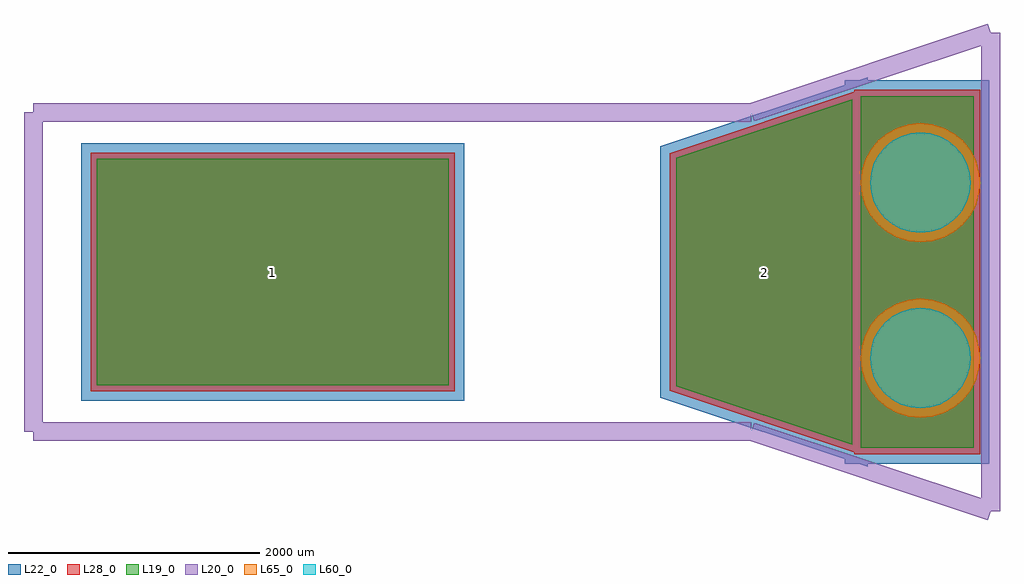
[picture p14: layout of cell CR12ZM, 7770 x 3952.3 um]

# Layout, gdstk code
import gdstk
lib = gdstk.Library(unit=1e-6, precision=1e-09)
def R(c, l, rs):  # rectangles x0, y0, x1, y1
    for r in rs: c.add(gdstk.rectangle(r[:2], r[2:], *l))
def P(c, l, *ps):  # polygons
    for p in ps: c.add(gdstk.Polygon(p, *l))
L19_0 = (19, 0)
L20_0 = (20, 0)
L22_0 = (22, 0)
L28_0 = (28, 0)
L60_0 = (60, 0)
L65_0 = (65, 0)

cr12zm = lib.new_cell('CR12ZM')
R(cr12zm, L19_0, [(2140.42,-1400.34,3041.18,1400.34), (-3940.34,-899.96,-1139.66,899.96)])
P(cr12zm, L19_0, [(671.03,-910.112),(671.03,910.112),(2072.17,1377.159),(2072.17,-1377.159)])
R(cr12zm, L22_0, [(2015.42,-1525.34,3166.18,1525.34), (-4065.34,-1024.96,-1014.66,1024.96)])
P(cr12zm, L22_0, [(3091.25,-685.8),(3082.122,-593.122),(3055.089,-504.006),(3011.19,-421.876),(2952.111,-349.889),(2880.124,-290.81),(2797.994,-246.911),(2708.878,-219.878),(2616.2,-210.75),(2523.522,-219.878),(2434.406,-246.911),(2352.276,-290.81),(2280.289,-349.889),(2221.21,-421.876),(2177.311,-504.006),(2150.278,-593.122),(2141.15,-685.8),(2150.278,-778.478),(2177.311,-867.594),(2221.21,-949.724),(2280.289,-1021.711),(2352.276,-1080.79),(2434.406,-1124.689),(2523.522,-1151.722),(2616.2,-1160.85),(2708.878,-1151.722),(2797.994,-1124.689),(2880.124,-1080.79),(2952.111,-1021.711),(3011.19,-949.724),(3055.089,-867.594),(3082.122,-778.478)],
  [(3091.25,711.2),(3082.122,803.878),(3055.089,892.994),(3011.19,975.124),(2952.111,1047.111),(2880.124,1106.19),(2797.994,1150.089),(2708.878,1177.122),(2616.2,1186.25),(2523.522,1177.122),(2434.406,1150.089),(2352.276,1106.19),(2280.289,1047.111),(2221.21,975.124),(2177.311,892.994),(2150.278,803.878),(2141.15,711.2),(2150.278,618.522),(2177.311,529.406),(2221.21,447.276),(2280.289,375.289),(2352.276,316.21),(2434.406,272.311),(2523.522,245.278),(2616.2,236.15),(2708.878,245.278),(2797.994,272.311),(2880.124,316.21),(2952.111,375.289),(3011.19,447.276),(3055.089,529.406),(3082.122,618.522)],
  [(546.03,-1000.207),(546.03,1000.207),(2197.17,1550.587),(2197.17,-1550.587)])
R(cr12zm, L28_0, [(2090.42,-1450.34,3091.18,1450.34), (-3990.34,-949.96,-1089.66,949.96)])
P(cr12zm, L28_0, [(3016.25,-685.8),(3008.563,-607.754),(2985.798,-532.707),(2948.829,-463.544),(2899.078,-402.922),(2838.456,-353.171),(2769.293,-316.202),(2694.246,-293.437),(2616.2,-285.75),(2538.154,-293.437),(2463.107,-316.202),(2393.944,-353.171),(2333.322,-402.922),(2283.571,-463.544),(2246.602,-532.707),(2223.837,-607.754),(2216.15,-685.8),(2223.837,-763.846),(2246.602,-838.893),(2283.571,-908.056),(2333.322,-968.678),(2393.944,-1018.429),(2463.107,-1055.398),(2538.154,-1078.163),(2616.2,-1085.85),(2694.246,-1078.163),(2769.293,-1055.398),(2838.456,-1018.429),(2899.078,-968.678),(2948.829,-908.056),(2985.798,-838.893),(3008.563,-763.846)],
  [(3016.25,711.2),(3008.563,789.246),(2985.798,864.293),(2948.829,933.456),(2899.078,994.078),(2838.456,1043.829),(2769.293,1080.798),(2694.246,1103.563),(2616.2,1111.25),(2538.154,1103.563),(2463.107,1080.798),(2393.944,1043.829),(2333.322,994.078),(2283.571,933.456),(2246.602,864.293),(2223.837,789.246),(2216.15,711.2),(2223.837,633.154),(2246.602,558.107),(2283.571,488.944),(2333.322,428.322),(2393.944,378.571),(2463.107,341.602),(2538.154,318.837),(2616.2,311.15),(2694.246,318.837),(2769.293,341.602),(2838.456,378.571),(2899.078,428.322),(2948.829,488.944),(2985.798,558.107),(3008.563,633.154)],
  [(621.03,-946.15),(621.03,946.15),(2122.17,1446.53),(2122.17,-1446.53)])
P(cr12zm, L60_0, [(3016.25,-685.8),(3008.563,-607.754),(2985.798,-532.707),(2948.829,-463.544),(2899.078,-402.922),(2838.456,-353.171),(2769.293,-316.202),(2694.246,-293.437),(2616.2,-285.75),(2538.154,-293.437),(2463.107,-316.202),(2393.944,-353.171),(2333.322,-402.922),(2283.571,-463.544),(2246.602,-532.707),(2223.837,-607.754),(2216.15,-685.8),(2223.837,-763.846),(2246.602,-838.893),(2283.571,-908.056),(2333.322,-968.678),(2393.944,-1018.429),(2463.107,-1055.398),(2538.154,-1078.163),(2616.2,-1085.85),(2694.246,-1078.163),(2769.293,-1055.398),(2838.456,-1018.429),(2899.078,-968.678),(2948.829,-908.056),(2985.798,-838.893),(3008.563,-763.846)],
  [(3016.25,711.2),(3008.563,789.246),(2985.798,864.293),(2948.829,933.456),(2899.078,994.078),(2838.456,1043.829),(2769.293,1080.798),(2694.246,1103.563),(2616.2,1111.25),(2538.154,1103.563),(2463.107,1080.798),(2393.944,1043.829),(2333.322,994.078),(2283.571,933.456),(2246.602,864.293),(2223.837,789.246),(2216.15,711.2),(2223.837,633.154),(2246.602,558.107),(2283.571,488.944),(2333.322,428.322),(2393.944,378.571),(2463.107,341.602),(2538.154,318.837),(2616.2,311.15),(2694.246,318.837),(2769.293,341.602),(2838.456,378.571),(2899.078,428.322),(2948.829,488.944),(2985.798,558.107),(3008.563,633.154)])
P(cr12zm, L65_0, [(3091.25,-685.8),(3082.122,-593.122),(3055.089,-504.006),(3011.19,-421.876),(2952.111,-349.889),(2880.124,-290.81),(2797.994,-246.911),(2708.878,-219.878),(2616.2,-210.75),(2523.522,-219.878),(2434.406,-246.911),(2352.276,-290.81),(2280.289,-349.889),(2221.21,-421.876),(2177.311,-504.006),(2150.278,-593.122),(2141.15,-685.8),(2150.278,-778.478),(2177.311,-867.594),(2221.21,-949.724),(2280.289,-1021.711),(2352.276,-1080.79),(2434.406,-1124.689),(2523.522,-1151.722),(2616.2,-1160.85),(2708.878,-1151.722),(2797.994,-1124.689),(2880.124,-1080.79),(2952.111,-1021.711),(3011.19,-949.724),(3055.089,-867.594),(3082.122,-778.478)],
  [(3091.25,711.2),(3082.122,803.878),(3055.089,892.994),(3011.19,975.124),(2952.111,1047.111),(2880.124,1106.19),(2797.994,1150.089),(2708.878,1177.122),(2616.2,1186.25),(2523.522,1177.122),(2434.406,1150.089),(2352.276,1106.19),(2280.289,1047.111),(2221.21,975.124),(2177.311,892.994),(2150.278,803.878),(2141.15,711.2),(2150.278,618.522),(2177.311,529.406),(2221.21,447.276),(2280.289,375.289),(2352.276,316.21),(2434.406,272.311),(2523.522,245.278),(2616.2,236.15),(2708.878,245.278),(2797.994,272.311),(2880.124,316.21),(2952.111,375.289),(3011.19,447.276),(3055.089,529.406),(3082.122,618.522)])
cr12zm.add(gdstk.FlexPath([(3175,1905),(3175,1270)], 149.998, ends="flush", simple_path=True, layer=20, datatype=0))  # L20_0
cr12zm.add(gdstk.FlexPath([(1270,1270),(3175,1905)], 149.998, ends="flush", simple_path=True, layer=20, datatype=0))  # L20_0
cr12zm.add(gdstk.FlexPath([(-4445,1270),(1270,1270)], 149.998, ends="flush", simple_path=True, layer=20, datatype=0))  # L20_0
cr12zm.add(gdstk.FlexPath([(3175,-1905),(3175,1270)], 149.998, ends="flush", simple_path=True, layer=20, datatype=0))  # L20_0
cr12zm.add(gdstk.FlexPath([(1270,-1270),(3175,-1905)], 149.998, ends="flush", simple_path=True, layer=20, datatype=0))  # L20_0
cr12zm.add(gdstk.FlexPath([(-4445,-1270),(1270,-1270)], 149.998, ends="flush", simple_path=True, layer=20, datatype=0))  # L20_0
cr12zm.add(gdstk.FlexPath([(-4445,1270),(-4445,-1270)], 149.998, ends="flush", simple_path=True, layer=20, datatype=0))  # L20_0
cr12zm.add(gdstk.Label('2', (1371.6,0), layer=28, texttype=0))
cr12zm.add(gdstk.Label('1', (-2540,0), layer=28, texttype=0))
cr12zm.add(gdstk.Label('type', (-635,-2794), layer=9, texttype=0))
cr12zm.add(gdstk.Label('devicename', (-1016,2286), layer=9, texttype=0))

lib.write_gds('CR12ZM.gds')
